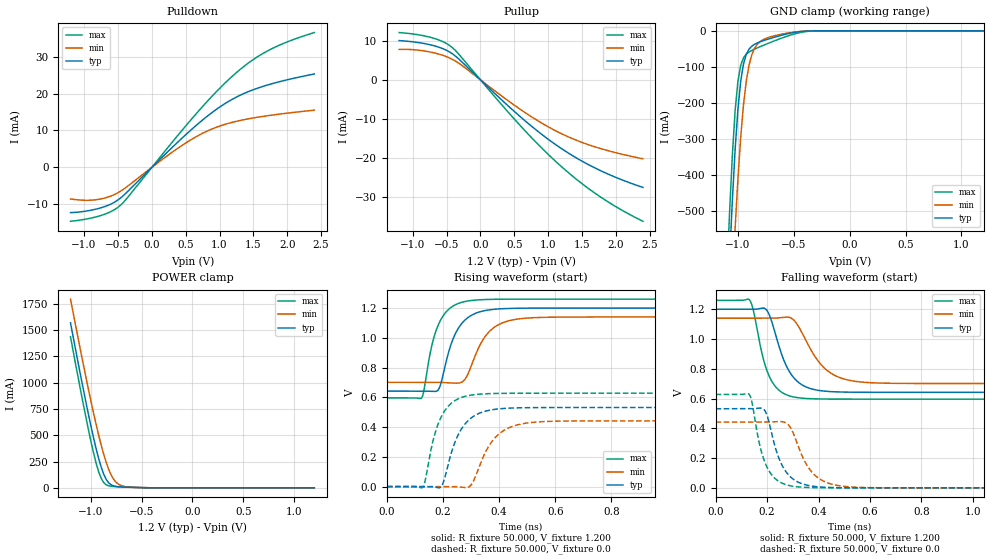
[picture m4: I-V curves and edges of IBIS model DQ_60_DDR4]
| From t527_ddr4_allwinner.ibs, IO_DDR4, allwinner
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|   Model DQ_60_DDR4
[Model] DQ_60_DDR4
Model_type I/O
Polarity   Non-Inverting
Enable   Active-Low
Vinl =  0.600V
Vinh =  0.600V
C_comp   1.584pF   1.545pF   1.636pF
C_comp_pullup   0.514pF   0.497pF   0.536pF
C_comp_pulldown   0.805pF   0.782pF   0.836pF
[Model Spec]
Vinh   0.600V   0.570V   0.630V
Vinl   0.600V   0.570V   0.630V
[Temperature Range]   25.000   0.125k   -40.000
[Voltage Range]   1.200V   1.140V   1.260V
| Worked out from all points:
|   slope of the pulldown table from 0 to 0.18 V, typ, clamps not added: 55.3 ohm
|   slope of the pullup table from 0 to 0.18 V, typ, clamps not added: 60.4 ohm
|   GND clamp passes 1 mA (typ) near -0.40 V on its own axis
|   POWER clamp passes 1 mA (typ) near -0.43 V on its own axis
|   rising waveform, R_fixture 50.000, V_fixture 1.200: 20-80 % time 63ps typ, 74.6ps min, 54.7ps max; typ from 0.642 V to 1.2 V
|   rising waveform, R_fixture 50.000, V_fixture 0.0: 20-80 % time 67.6ps typ, 79.3ps min, 58.4ps max; typ from 0 V to 0.532 V
|   falling waveform, R_fixture 50.000, V_fixture 1.200: 20-80 % time 74.2ps typ, 101ps min, 59.7ps max; typ from 1.2 V to 0.642 V
|   falling waveform, R_fixture 50.000, V_fixture 0.0: 20-80 % time 64.5ps typ, 78.6ps min, 54.9ps max; typ from 0.532 V to 0 V
[Pulldown]
|Voltage   I(typ)   I(min)   I(max)
-1.2V     -12.23mA   -8.541mA   -14.58mA
-830mV    -11.31mA   -8.757mA   -13.42mA
-645mV    -10.25mA   -8.005mA   -12.3mA
-497mV    -8.774mA   -6.818mA   -10.76mA
-386mV    -7.034mA   -5.483mA   -8.769mA
206mV     3.722mA    2.853mA    4.681mA
576mV     10.1mA     7.471mA    12.84mA
872mV     14.61mA    10.28mA    18.93mA
1.205V    18.61mA    12.29mA    24.95mA
1.464V    20.8mA     13.29mA    28.76mA
1.723V    22.39mA    14.04mA    31.67mA
2.4V      25.31mA    15.5mA     36.51mA
[Pullup]
|Voltage   I(typ)   I(min)   I(max)
-1.2V     10.04mA    7.778mA    12.1mA
-967mV    9.658mA    7.675mA    11.67mA
-745mV    8.986mA    7.127mA    10.92mA
-560mV    8.007mA    6.297mA    9.815mA
-449mV    7.056mA    5.54mA     8.711mA
-338mV    5.62mA     4.471mA    6.933mA
587mV     -9.42mA    -7.54mA    -11.7mA
1.142V    -16.97mA   -13.33mA   -21.39mA
1.438V    -20.22mA   -15.62mA   -25.76mA
1.734V    -22.94mA   -17.41mA   -29.55mA
2.067V    -25.46mA   -18.97mA   -33.17mA
2.4V      -27.57mA   -20.23mA   -36.24mA
[GND_clamp]
|Voltage   I(typ)   I(min)   I(max)
-1.2V     -1.58A     -1.767A    -1.488A
-1.1V     -814.7mA   -1.043A    -687.9mA
-1.075V   -635.1mA   -867.9mA   -505.2mA
-1.05V    -470.6mA   -700.9mA   -345.6mA
-1.025V   -328.8mA   -546.4mA   -221.2mA
-1V       -217.3mA   -409.4mA   -139.7mA
-950mV    -91.68mA   -204.1mA   -74.62mA
-925mV    -64.95mA   -138.5mA   -64.4mA
-875mV    -42.32mA   -65.59mA   -54.22mA
-775mV    -27.6mA    -24.67mA   -40.49mA
-475mV    -3.461mA   -2.765mA   -7.117mA
1.2V      0A         0A         0A
[POWER_clamp]
|Voltage   I(typ)   I(min)   I(max)
-1.2V     1.569A     1.794A     1.436A
-1.1V     1.065A     1.299A     923.3mA
-1.025V   705.5mA    943.2mA    559.5mA
-975mV    483.1mA    718.4mA    339.7mA
-925mV    286.3mA    509.5mA    159.2mA
-900mV    203.1mA    413.5mA    94.6mA
-850mV    82.64mA    246mA      29.88mA
-800mV    28.59mA    122.8mA    15.32mA
-725mV    10.03mA    32.68mA    10.49mA
-650mV    6.259mA    9.931mA    7.528mA
-450mV    1.297mA    1.702mA    1.414mA
1.2V      0A         0A         0A
[Ramp]
| variable   typ   min   max
dV/dt_r   0.319/67.593p   0.265/79.299p   0.377/58.497p
dV/dt_f   0.335/74.313p   0.263/0.101n   0.398/59.712p
R_load = 50.000
[Rising Waveform]
R_fixture= 50.000
V_fixture= 1.200
V_fixture_min= 1.140
V_fixture_max= 1.260
|time   V(typ)   V(min)   V(max)
0s        642mV      701.1mV    596.2mV
124ps     642.1mV    701.1mV    597.4mV
158ps     639.7mV    700.9mV    932.2mV
181ps     646.6mV    700.9mV    1.078V
235ps     989.8mV    695.9mV    1.213V
285ps     1.131V     742.4mV    1.246V
331ps     1.175V     949.2mV    1.256V
363ps     1.187V     1.038V     1.258V
478ps     1.199V     1.129V     1.26V
2ns       1.2V       1.14V      1.26V
[Rising Waveform]
R_fixture= 50.000
V_fixture= 0.0
V_fixture_min= 0.0
V_fixture_max= 0.0
|time   V(typ)   V(min)   V(max)
0s        3.1uV      68.08uV    240.1nV
128ps     494uV      113.3uV    -2.359mV
166ps     -1.506mV   38.95uV    321.5mV
192ps     -2.892mV   468.9uV    463.2mV
247ps     319.6mV    -348.7uV   583.3mV
297ps     456.5mV    5.473mV    614.1mV
352ps     507.6mV    234.7mV    623.9mV
386ps     519.7mV    329.8mV    625.9mV
498ps     530.4mV    427mV      627.6mV
2ns       531.6mV    441.9mV    627.8mV
[Falling Waveform]
R_fixture= 50.000
V_fixture= 1.200
V_fixture_min= 1.140
V_fixture_max= 1.260
|time   V(typ)   V(min)   V(max)
0s        1.2V       1.14V      1.26V
133ps     1.2V       1.14V      1.261V
147ps     1.199V     1.14V      1.191V
194ps     1.203V     1.14V      816.3mV
237ps     1.007V     1.141V     671.9mV
271ps     834.4mV    1.147V     628.6mV
307ps     733.8mV    1.122V     609.5mV
418ps     650.9mV    813.3mV    597.1mV
539ps     642.7mV    716.9mV    596.3mV
2ns       642mV      701.1mV    596.2mV
[Falling Waveform]
R_fixture= 50.000
V_fixture= 0.0
V_fixture_min= 0.0
V_fixture_max= 0.0
|time   V(typ)   V(min)   V(max)
0s        531.6mV    441.9mV    627.8mV
131ps     531.3mV    441.8mV    627.1mV
187ps     528.4mV    441.6mV    193.2mV
202ps     476.3mV    441.9mV    131.6mV
248ps     190.7mV    445.8mV    40.97mV
296ps     66.08mV    389.4mV    12.16mV
342ps     24.15mV    193.6mV    3.864mV
375ps     11.73mV    104.3mV    1.668mV
487ps     1.019mV    12.69mV    96.87uV
2ns       3.104uV    68.04uV    240.3nV
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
